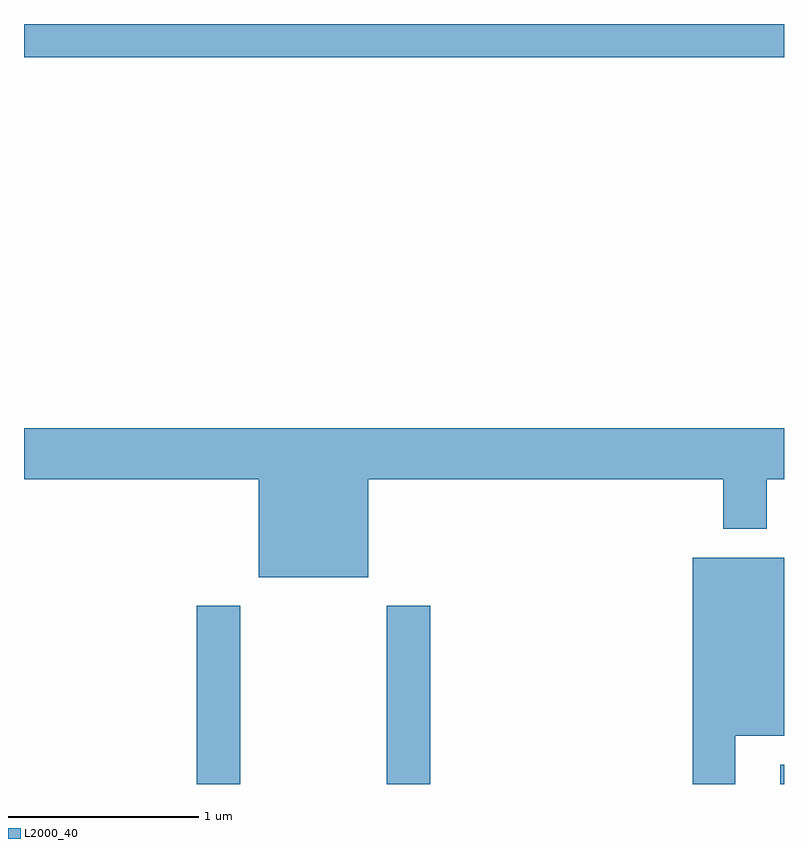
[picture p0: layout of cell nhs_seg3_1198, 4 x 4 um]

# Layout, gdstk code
import gdstk
lib = gdstk.Library(unit=1e-6, precision=1e-09)
def R(c, l, rs):  # rectangles x0, y0, x1, y1
    for r in rs: c.add(gdstk.rectangle(r[:2], r[2:], *l))
def P(c, l, *ps):  # polygons
    for p in ps: c.add(gdstk.Polygon(p, *l))
L2000_40 = (2000, 40)

nhs_seg3_1198 = lib.new_cell('nhs_seg3_1198')
R(nhs_seg3_1198, L2000_40, [(220.521,1199.892,220.749,1200.829), (221.521,1199.892,221.749,1200.829), (223.591,1199.892,223.611,1199.994), (219.611,1203.716,223.611,1203.892)])
P(nhs_seg3_1198, L2000_40, [(221.424,1201.496),(223.291,1201.496),(223.291,1201.236),(223.519,1201.236),(223.519,1201.496),(223.611,1201.496),(223.611,1201.764),(219.611,1201.764),(219.611,1201.496),(220.846,1201.496),(220.846,1200.981),(221.424,1200.981)],
  [(223.354,1200.146),(223.611,1200.146),(223.611,1201.084),(223.131,1201.084),(223.131,1199.892),(223.354,1199.892)])

lib.write_gds('nhs_seg3_1198.gds')
